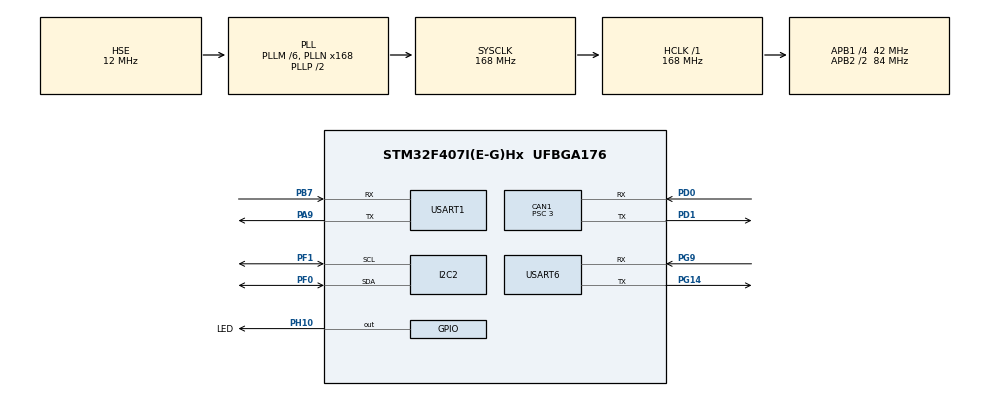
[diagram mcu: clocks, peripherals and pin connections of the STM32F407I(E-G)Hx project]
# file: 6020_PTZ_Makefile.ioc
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CAN1.ABOM=ENABLE
CAN1.BS1=CAN_BS1_9TQ
CAN1.BS2=CAN_BS2_4TQ
CAN1.CalculateBaudRate=1000000
CAN1.CalculateTimeBit=1000
CAN1.CalculateTimeQuantum=71.42857142857143
CAN1.Prescaler=3
Dma.Request0=USART1_RX
Dma.Request1=USART1_TX
Dma.Request2=USART6_RX
Dma.Request3=USART6_TX
Dma.USART1_RX.0.Direction=DMA_PERIPH_TO_MEMORY
Dma.USART1_RX.0.FIFOMode=DMA_FIFOMODE_DISABLE
Dma.USART1_RX.0.Instance=DMA2_Stream2
Dma.USART1_RX.0.MemDataAlignment=DMA_MDATAALIGN_BYTE
Dma.USART1_RX.0.MemInc=DMA_MINC_ENABLE
Dma.USART1_RX.0.Mode=DMA_NORMAL
Dma.USART1_RX.0.PeriphDataAlignment=DMA_PDATAALIGN_BYTE
Dma.USART1_RX.0.PeriphInc=DMA_PINC_DISABLE
Dma.USART1_RX.0.Priority=DMA_PRIORITY_LOW
Dma.USART1_TX.1.Direction=DMA_MEMORY_TO_PERIPH
Dma.USART1_TX.1.FIFOMode=DMA_FIFOMODE_DISABLE
Dma.USART1_TX.1.Instance=DMA2_Stream7
Dma.USART1_TX.1.MemDataAlignment=DMA_MDATAALIGN_BYTE
Dma.USART1_TX.1.MemInc=DMA_MINC_ENABLE
Dma.USART1_TX.1.Mode=DMA_NORMAL
Dma.USART1_TX.1.PeriphDataAlignment=DMA_PDATAALIGN_BYTE
Dma.USART1_TX.1.PeriphInc=DMA_PINC_DISABLE
Dma.USART1_TX.1.Priority=DMA_PRIORITY_LOW
Dma.USART6_RX.2.Direction=DMA_PERIPH_TO_MEMORY
Dma.USART6_RX.2.FIFOMode=DMA_FIFOMODE_DISABLE
Dma.USART6_RX.2.Instance=DMA2_Stream1
Dma.USART6_RX.2.MemDataAlignment=DMA_MDATAALIGN_BYTE
Dma.USART6_RX.2.MemInc=DMA_MINC_ENABLE
Dma.USART6_RX.2.Mode=DMA_NORMAL
Dma.USART6_RX.2.PeriphDataAlignment=DMA_PDATAALIGN_BYTE
Dma.USART6_RX.2.PeriphInc=DMA_PINC_DISABLE
Dma.USART6_RX.2.Priority=DMA_PRIORITY_LOW
Dma.USART6_TX.3.Direction=DMA_MEMORY_TO_PERIPH
Dma.USART6_TX.3.FIFOMode=DMA_FIFOMODE_DISABLE
Dma.USART6_TX.3.Instance=DMA2_Stream6
Dma.USART6_TX.3.MemDataAlignment=DMA_MDATAALIGN_BYTE
Dma.USART6_TX.3.MemInc=DMA_MINC_ENABLE
Dma.USART6_TX.3.Mode=DMA_NORMAL
Dma.USART6_TX.3.PeriphDataAlignment=DMA_PDATAALIGN_BYTE
Dma.USART6_TX.3.PeriphInc=DMA_PINC_DISABLE
Dma.USART6_TX.3.Priority=DMA_PRIORITY_LOW
I2C2.OwnAddress=0x1A
Mcu.Family=STM32F4
Mcu.Name=STM32F407I(E-G)Hx
Mcu.Package=UFBGA176
NVIC.CAN1_RX0_IRQn=true\:0\:0\:false\:false\:true\:true\:true\:true
NVIC.CAN1_TX_IRQn=true\:0\:0\:false\:false\:true\:true\:true\:true
NVIC.DMA2_Stream1_IRQn=true\:0\:0\:false\:false\:true\:false\:true\:true
NVIC.DMA2_Stream2_IRQn=true\:0\:0\:false\:false\:true\:false\:true\:true
NVIC.DMA2_Stream6_IRQn=true\:0\:0\:false\:false\:true\:false\:true\:true
NVIC.DMA2_Stream7_IRQn=true\:0\:0\:false\:false\:true\:false\:true\:true
NVIC.I2C2_ER_IRQn=true\:0\:0\:false\:false\:true\:true\:true\:true
NVIC.I2C2_EV_IRQn=true\:0\:0\:false\:false\:true\:true\:true\:true
NVIC.PriorityGroup=NVIC_PRIORITYGROUP_4
NVIC.USART1_IRQn=true\:0\:0\:false\:false\:true\:true\:true\:true
NVIC.USART6_IRQn=true\:0\:0\:false\:false\:true\:true\:true\:true
PA13.Signal=SYS_JTMS-SWDIO
PA14.Signal=SYS_JTCK-SWCLK
PA9.Mode=Asynchronous
PA9.Signal=USART1_TX
PB7.Mode=Asynchronous
PB7.Signal=USART1_RX
PC14-OSC32_IN.Mode=LSE-External-Oscillator
PC14-OSC32_IN.Signal=RCC_OSC32_IN
PC15-OSC32_OUT.Mode=LSE-External-Oscillator
PC15-OSC32_OUT.Signal=RCC_OSC32_OUT
PD0.Mode=CAN_Activate
PD0.Signal=CAN1_RX
PD1.Mode=CAN_Activate
PD1.Signal=CAN1_TX
PF0.Mode=I2C
PF0.Signal=I2C2_SDA
PF1.Mode=I2C
PF1.Signal=I2C2_SCL
PG14.Mode=Asynchronous
PG14.Signal=USART6_TX
PG9.Mode=Asynchronous
PG9.Signal=USART6_RX
PH0-OSC_IN.Mode=HSE-External-Oscillator
PH0-OSC_IN.Signal=RCC_OSC_IN
PH1-OSC_OUT.Mode=HSE-External-Oscillator
PH1-OSC_OUT.Signal=RCC_OSC_OUT
PH10.GPIO_Label=LED
PH10.PinState=GPIO_PIN_SET
PH10.Signal=GPIO_Output
ProjectManager.HeapSize=0x200
ProjectManager.StackSize=0x400
ProjectManager.TargetToolchain=Makefile
RCC.48MHZClocksFreq_Value=48000000
RCC.AHBFreq_Value=168000000
RCC.APB1CLKDivider=RCC_HCLK_DIV4
RCC.APB1Freq_Value=42000000
RCC.APB1TimFreq_Value=84000000
RCC.APB2CLKDivider=RCC_HCLK_DIV2
RCC.APB2Freq_Value=84000000
RCC.APB2TimFreq_Value=168000000
RCC.CortexFreq_Value=168000000
RCC.HCLKFreq_Value=168000000
RCC.HSE_VALUE=12000000
RCC.HSI_VALUE=16000000
RCC.PLLM=6
RCC.PLLN=168
RCC.PLLQ=7
RCC.PLLSourceVirtual=RCC_PLLSOURCE_HSE
RCC.SYSCLKFreq_VALUE=168000000
RCC.SYSCLKSource=RCC_SYSCLKSOURCE_PLLCLK
RCC.VCOOutputFreq_Value=336000000
USART1.VirtualMode=VM_ASYNC
USART6.VirtualMode=VM_ASYNC
board=custom

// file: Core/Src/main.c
/* USER CODE BEGIN Header */
/**
 ******************************************************************************
 * @file           : main.c
 * @brief          : Main program body
 ******************************************************************************
 * @attention
 *
 * <h2><center>&copy; Copyright (c) 2021 STMicroelectronics.
 * All rights reserved.</center></h2>
 *
 * This software component is licensed by ST under BSD 3-Clause license,
 * the "License"; You may not use this file except in compliance with the
 * License. You may obtain a copy of the License at:
 *                        opensource.org/licenses/BSD-3-Clause
 *
 ******************************************************************************
 */
/* USER CODE END Header */
#include "main.h"
#include "can.h"
#include "dma.h"
#include "i2c.h"
#include "stm32f4xx_hal_uart.h"
#include "usart.h"
#include "gpio.h"

/* USER CODE BEGIN Includes */
#include "bsp_can.h"
#include "package.h"
#include "pid.h"
#include "math.h"
#include <stdio.h>
#include "pid_control_tuning.h"
#include "bsp_usart.h"

/* USER CODE END Includes */

/* USER CODE BEGIN PV */
typedef struct Vec3d {
    double x, y, z;
} Vec3d;

  SendPacket sp;
  ReceivePacket rp = {0};
  uint32_t size = SEND_PKG_SIZE;
/* USER CODE END PV */

void SystemClock_Config(void);

/* USER CODE BEGIN 0 */
uint8_t ReceiveBuffer[6] = {0}; // IIC接收缓冲区
char buf_r[256] = {0};

double rc_norm(const Vec3d *r) {
    double ans = (r -> x * r -> x) + (r -> y * r -> y) + (r -> z * r -> z);
    return sqrt(ans);
}

void rc_mul(const double a, const Vec3d *b, Vec3d *ans) {
    ans -> x = a * b -> x;
    ans -> y = a * b -> y;
    ans -> z = a * b -> z;
}

/* USER CODE END 0 */

int main(void)
{

  /* MCU Configuration--------------------------------------------------------*/

  /* Reset of all peripherals, Initializes the Flash interface and the Systick. */
  HAL_Init();

  /* Configure the system clock */
  SystemClock_Config();

  /* Initialize all configured peripherals */
  MX_GPIO_Init();
  MX_DMA_Init();
  MX_CAN1_Init();
  MX_I2C2_Init();
  MX_USART1_UART_Init();
  MX_USART6_UART_Init();
  /* USER CODE BEGIN 2 */

  HAL_CAN_Start(&hcan1);
  my_can_filter_init_recv_all(&hcan1);
  HAL_CAN_ActivateNotification(&hcan1,
                               CAN_IT_RX_FIFO0_MSG_PENDING); // enable IT

  /* USER CODE END 2 */

  /* Infinite loop */
  /* USER CODE BEGIN WHILE */
  // YAW轴PID
  pid_init(&motor_pid[0]); // 速度环
  motor_pid[0].f_param_init(&motor_pid[0], PID_Speed, CURRENT_LIMIT, 5000, 0, 0,
                            0, 8000, 61.4656753, 0.6697404, 0);
  pid_init(&angle_pid[0]); // 位置环（相对位置）
  angle_pid[0].f_param_init(&angle_pid[0], PID_Speed, 300, 300, 0, 0, 4000, 0,
                            1.3713, 0.00495369, 94.8474 * 0);
  pid_init(&abs_pid[0]); // 位置环（自稳）
  abs_pid[0].f_param_init(&abs_pid[0], PID_Speed, 300, 300, 0, 0, 4000, 0, -0.9,
                          -0.003, -3);

  // Pitch轴PID
  pid_init(&motor_pid[1]); // 速度环
  motor_pid[1].f_param_init(&motor_pid[1], PID_Speed, CURRENT_LIMIT, 5000, 0, 0,
                            0, 8000, 4.01239768, 3.0348503, 0);
  pid_init(&angle_pid[1]); // 位置环（相对位置）
  angle_pid[1].f_param_init(&angle_pid[1], PID_Speed, 500, 500, 0, 0, 4000, 0,
                            1.27137, 0.01084, 27.877753 * 0.4);
  pid_init(&abs_pid[1]); // 位置环（自稳）
  abs_pid[1].f_param_init(&abs_pid[1], PID_Speed, 300, 300, 0, 0, 4000, 0, 0.5,
                          0, 10);

  usart6_printf("--------------init--------------\n");
  HAL_I2C_Slave_Receive_IT(&hi2c2, ReceiveBuffer, sizeof(ReceiveBuffer));

  sp.header = 0x5a;
  sp.detect_color = 1;
  sp.reset_tracker = 0;
  sp.checksum = 0;
	Vec3d aim_pos = {0};
	float yaw,pitch;
	int nan_f = 0;

  while (1) {
    /* USER CODE END WHILE */

    /* USER CODE BEGIN 3 */
    HAL_UARTEx_ReceiveToIdle_DMA(&huart1, (uint8_t *)buf_r, size);
		aim_pos.x = rp.x;
		aim_pos.y = rp.y;
		aim_pos.z = rp.z;
		float l = rc_norm(&aim_pos);

		yaw = atan(aim_pos.y/aim_pos.x);//偏航角
		pitch = asin(aim_pos.z/l);//俯仰角
    // float x = 1.0;
    //printf("%d/1000\n", (int)x*1000);

    usart6_printf("aim_x:%d/1000, aim_y:%d/1000, aim_z:%d/1000, yaw:%d/1000, pitch:%d/1000 \n",
                   (int)aim_pos.x*1000, (int)aim_pos.y*1000, (int)aim_pos.z*1000, (int)yaw*1000, (int)pitch*1000);

		sp.yaw = M_PI * (-IMU_Angle[2]+90)/180;
		sp.pitch = M_PI * (-IMU_Angle[0] + 180)/180;
		sp.roll = M_PI * IMU_Angle[1]/180;

		//printf("yaw: %d/1000\n",(int)(yaw*1000));
		//printf("ok\n");
    //if(isnan(yaw)){
				//printf("NANANANAN\n");
		//}
		if(ABS_Gimbal_angle[0] >= 8191)
				ABS_Gimbal_angle[0] = 0;
		else if(ABS_Gimbal_angle <= 0)
				ABS_Gimbal_angle[0] = 8191;
		else if(isnan(ABS_Gimbal_angle[0]) && nan_f == 0){
				nan_f = 1;
				ABS_Gimbal_angle[0] = 7500;
		} else nan_f =0;

		if(nan_f == 1){
				ABS_Gimbal_angle[0]= yaw /(2*M_PI) *8192;
		}

		//ABS_Gimbal_angle[0] -= (yaw+0.21);
				/**ABS_Gimbal_angle[0] += ((yaw+0.21) * 100);*/
				/**ABS_Gimbal_angle[1] -=  pitch * 10;*/

  Abs_angle_control_loop();

    /*Debug*/
    if (false) {
      HAL_GPIO_TogglePin(LED_GPIO_Port, LED_Pin);
      HAL_Delay(100);
    }
    i++;
    j++;
  }
  /* USER CODE END 3 */
}

void SystemClock_Config(void)
{
  RCC_OscInitTypeDef RCC_OscInitStruct = {0};
  RCC_ClkInitTypeDef RCC_ClkInitStruct = {0};

  /** Configure the main internal regulator output voltage
  */
  __HAL_RCC_PWR_CLK_ENABLE();
  __HAL_PWR_VOLTAGESCALING_CONFIG(PWR_REGULATOR_VOLTAGE_SCALE1);

  /** Initializes the RCC Oscillators according to the specified parameters
  * in the RCC_OscInitTypeDef structure.
  */
  RCC_OscInitStruct.OscillatorType = RCC_OSCILLATORTYPE_HSE;
  RCC_OscInitStruct.HSEState = RCC_HSE_ON;
  RCC_OscInitStruct.PLL.PLLState = RCC_PLL_ON;
  RCC_OscInitStruct.PLL.PLLSource = RCC_PLLSOURCE_HSE;
  RCC_OscInitStruct.PLL.PLLM = 6;
  RCC_OscInitStruct.PLL.PLLN = 168;
  RCC_OscInitStruct.PLL.PLLP = RCC_PLLP_DIV2;
  RCC_OscInitStruct.PLL.PLLQ = 7;
  if (HAL_RCC_OscConfig(&RCC_OscInitStruct) != HAL_OK)
  {
    Error_Handler();
  }

  /** Initializes the CPU, AHB and APB buses clocks
  */
  RCC_ClkInitStruct.ClockType = RCC_CLOCKTYPE_HCLK|RCC_CLOCKTYPE_SYSCLK
                              |RCC_CLOCKTYPE_PCLK1|RCC_CLOCKTYPE_PCLK2;
  RCC_ClkInitStruct.SYSCLKSource = RCC_SYSCLKSOURCE_PLLCLK;
  RCC_ClkInitStruct.AHBCLKDivider = RCC_SYSCLK_DIV1;
  RCC_ClkInitStruct.APB1CLKDivider = RCC_HCLK_DIV4;
  RCC_ClkInitStruct.APB2CLKDivider = RCC_HCLK_DIV2;

  if (HAL_RCC_ClockConfig(&RCC_ClkInitStruct, FLASH_LATENCY_5) != HAL_OK)
  {
    Error_Handler();
  }
}

/* USER CODE BEGIN 4 */

int fputc(int ch, FILE *f) {
  HAL_UART_Transmit(&huart1, (uint8_t *)&ch, 1, 0xffff);
  return ch;
}
int fgetc(FILE *f) {
  uint8_t ch = 0;
  HAL_UART_Receive(&huart1, &ch, 1, 0xffff);
  return ch;
}

void HAL_I2C_SlaveRxCpltCallback(I2C_HandleTypeDef *hi2c) {
  // printf("data1 = %d\n", ReceiveBuffer[1]);
  uint8_t IMU_data[6] = {0};
  for (int i = 0; i < 6; i++) {
    IMU_data[i] = ReceiveBuffer[i];
  }
  IMU_Angle_Raw[0] = (int16_t)(IMU_data[0] << 8 | IMU_data[1]);
  IMU_Angle_Raw[1] = (int16_t)(IMU_data[2] << 8 | IMU_data[3]);
  IMU_Angle_Raw[2] = (int16_t)(IMU_data[4] << 8 | IMU_data[5]);
  IMU_Angle[0] = (float)IMU_Angle_Raw[0] / 100;
  IMU_Angle[1] = (float)IMU_Angle_Raw[1] / 100;
  IMU_Angle[2] = (float)IMU_Angle_Raw[2] / 10;
  //  printf("%f, %d, %d, \n",
  //        (int16_t)(IMU_data[0]<<8 | IMU_data[1])/100,
  //        (int16_t)(IMU_data[2]<<8 | IMU_data[3]),
  //        (int16_t)(IMU_data[4]<<8 | IMU_data[5])*10);
  /**printf("%f, %f, %f\n", IMU_Angle[0], IMU_Angle[1], IMU_Angle[2]);*/
  HAL_I2C_Slave_Receive_IT(&hi2c2, ReceiveBuffer, sizeof(ReceiveBuffer));
}

void HAL_UARTEx_RxEventCallback(UART_HandleTypeDef *huart, uint16_t Size)
{
  if (huart == &huart1)
  {
    fromVector((uint8_t *)buf_r, &rp);
    HAL_UART_Transmit_DMA(&huart1, (uint8_t *)&sp, sizeof(struct SendPacket));
    HAL_UARTEx_ReceiveToIdle_DMA(&huart1, (uint8_t *)buf_r, size);
  }
}
/* USER CODE END 4 */

void Error_Handler(void)
{
  __disable_irq();
  while (1) {
  }
}

#ifdef  USE_FULL_ASSERT
/**
  * @brief  Reports the name of the source file and the source line number
  *         where the assert_param error has occurred.
  * @param  file: pointer to the source file name
  * @param  line: assert_param error line source number
  * @retval None
  */
void assert_failed(uint8_t *file, uint32_t line)
{
  /* USER CODE BEGIN 6 */
  /* User can add his own implementation to report the file name and line
     number, ex: printf("Wrong parameters value: file %s on line %d\r\n", file,
     line) */
  /* USER CODE END 6 */
}
#endif /* USE_FULL_ASSERT */
